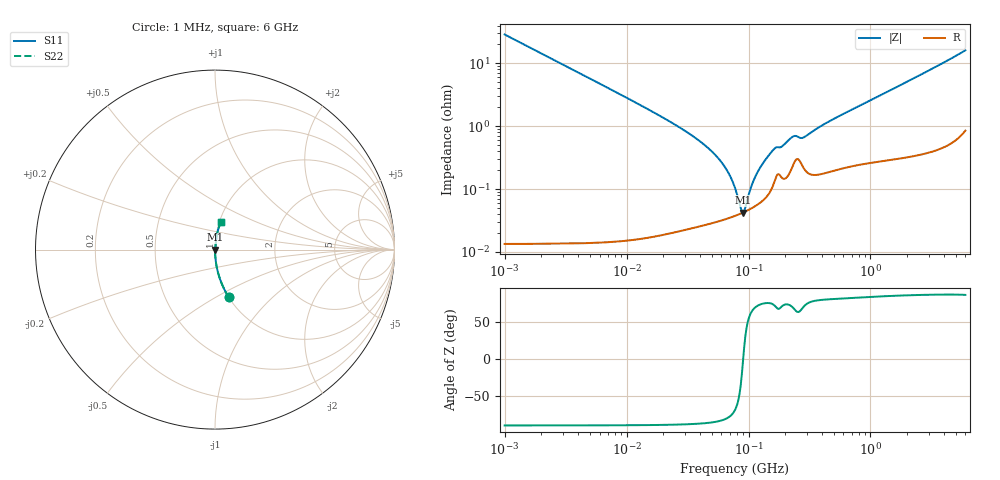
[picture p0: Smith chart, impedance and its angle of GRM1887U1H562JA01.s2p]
!Murata Part Number: GRM1887U1H562JA01
!These Parameters are Measured in Series Mode Connection
!Data Generated on Mar 30, 2021
!  o--ll--o
!Port1  Port2
!  o------o
!Operation Temp=25[degC], DC Bias Voltage=0[V]
!Freq. Start=1000[kHz] Stop=6[GHz] 401[Steps]
# Hz S RI R 50
!Freq.(Hz) S11(Real) S11(Imag) S21(Real) S21(Imag) S12(Real) S12(Imag) S22(Real) S22(Imag)
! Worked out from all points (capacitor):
!   401 points, 1 MHz to 6 GHz, reference 50 ohm
!   read as one part in series: C = 5.52 nF near 1.044 MHz
!   lowest |Z| = 42.5 mohm at 90.2 MHz (marker M1)
!   series resonance near 90.34 MHz, so ESL is about 560 pH
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1000000  0.0768 -0.266  0.9232 0.266  0.9232 0.266  0.0768 -0.266
2005636  0.0203 -0.1407  0.9797 0.1407  0.9797 0.1407  0.0203 -0.1407
4293785  0.0046 -0.0666  0.9954 0.0666  0.9954 0.0666  0.0046 -0.0666
1.843659e7  0.000404 -0.0149  0.9996 0.0149  0.9996 0.0149  0.000404 -0.0149
3.389622e7  0.000289 -0.00726  0.9997 0.00726  0.9997 0.00726  0.000289 -0.00726
5.013812e7  0.000303 -0.00395  0.9997 0.00395  0.9997 0.00395  0.000303 -0.00395
6.508975e7  0.000338 -0.00211  0.9997 0.00211  0.9997 0.00211  0.000338 -0.00211
7.100585e7  0.000355 -0.00154  0.9996 0.00154  0.9996 0.00154  0.000355 -0.00154
7.745967e7  0.000376 -0.00098  0.9996 0.00098  0.9996 0.00098  0.000376 -0.00098
8.635799e7  0.000409 -0.000287  0.9996 0.000287  0.9996 0.000287  0.000409 -0.000287
9.019724e7  0.000425 -1.03e-05  0.9996 1.03e-05  0.9996 1.03e-05  0.000425 -1.03e-05
9.420718e7  0.000441 0.000267  0.9996 -0.000267  0.9996 -0.000267  0.000441 0.000267
1.050294e8  0.000493 0.000967  0.9995 -0.000967  0.9995 -0.000967  0.000493 0.000967
1.145757e8  0.000545 0.00154  0.9995 -0.00154  0.9995 -0.00154  0.000545 0.00154
1.305463e8  0.00066 0.00245  0.9993 -0.00245  0.9993 -0.00245  0.00066 0.00245
1.553559e8  0.00104 0.00383  0.999 -0.00383  0.999 -0.00383  0.00104 0.00383
1.889453e8  0.00152 0.00456  0.9985 -0.00456  0.9985 -0.00456  0.00152 0.00456
2.297971e8  0.00234 0.00637  0.9977 -0.00637  0.9977 -0.00637  0.00234 0.00637
2.794814e8  0.00229 0.00614  0.9977 -0.00614  0.9977 -0.00614  0.00229 0.00614
3.325952e8  0.00175 0.00801  0.9982 -0.00801  0.9982 -0.00801  0.00175 0.00801
1.428092e9  0.00421 0.0363  0.9958 -0.0363  0.9958 -0.0363  0.00421 0.0363
6e9  0.0332 0.1547  0.9668 -0.1547  0.9668 -0.1547  0.0332 0.1547
